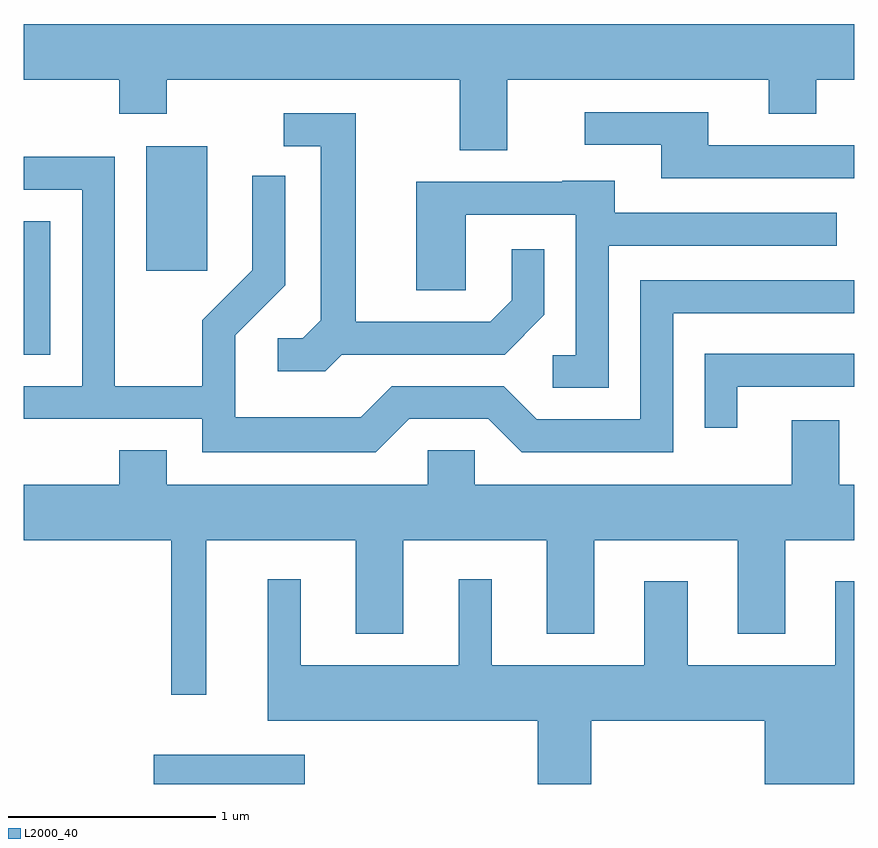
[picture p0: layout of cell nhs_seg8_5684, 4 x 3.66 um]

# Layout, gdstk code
import gdstk
lib = gdstk.Library(unit=1e-6, precision=1e-09)
def R(c, l, rs):  # rectangles x0, y0, x1, y1
    for r in rs: c.add(gdstk.rectangle(r[:2], r[2:], *l))
def P(c, l, *ps):  # polygons
    for p in ps: c.add(gdstk.Polygon(p, *l))
L2000_40 = (2000, 40)

nhs_seg8_5684 = lib.new_cell('nhs_seg8_5684')
R(nhs_seg8_5684, L2000_40, [(356.236,1846.342,356.964,1846.484), (355.611,1848.411,355.739,1849.054), (356.201,1848.816,356.494,1849.414)])
P(nhs_seg8_5684, L2000_40, [(357.939,1849.736),(359.201,1849.736),(359.201,1849.571),(359.429,1849.571),(359.429,1849.736),(359.611,1849.736),(359.611,1850.004),(355.611,1850.004),(355.611,1849.736),(356.071,1849.736),(356.071,1849.571),(356.299,1849.571),(356.299,1849.736),(357.711,1849.736),(357.711,1849.396),(357.939,1849.396)],
  [(359.611,1849.419),(358.909,1849.419),(358.909,1849.579),(358.313,1849.579),(358.313,1849.421),(358.681,1849.421),(358.681,1849.261),(359.611,1849.261)],
  [(357.142,1848.411),(357.927,1848.411),(358.119,1848.604),(358.119,1848.918),(357.961,1848.918),(357.961,1848.672),(357.859,1848.569),(357.209,1848.569),(357.209,1849.574),(356.863,1849.574),(356.863,1849.416),(357.041,1849.416),(357.041,1848.577),(356.954,1848.489),(356.833,1848.489),(356.833,1848.331),(357.062,1848.331)],
  [(357.467,1848.101),(357.849,1848.101),(358.009,1847.941),(358.739,1847.941),(358.739,1848.611),(359.611,1848.611),(359.611,1848.769),(358.581,1848.769),(358.581,1848.099),(358.082,1848.099),(357.922,1848.259),(357.384,1848.259),(357.234,1848.109),(356.629,1848.109),(356.629,1848.504),(356.869,1848.744),(356.869,1849.273),(356.711,1849.273),(356.711,1848.817),(356.471,1848.577),(356.471,1848.259),(356.049,1848.259),(356.049,1849.364),(355.611,1849.364),(355.611,1849.206),(355.891,1849.206),(355.891,1848.259),(355.611,1848.259),(355.611,1848.101),(356.471,1848.101),(356.471,1847.941),(357.307,1847.941)],
  [(358.429,1848.936),(359.528,1848.936),(359.528,1849.094),(358.459,1849.094),(358.459,1849.249),(358.205,1849.249),(358.205,1849.244),(357.501,1849.244),(357.501,1848.721),(357.739,1848.721),(357.739,1849.086),(358.271,1849.086),(358.271,1848.409),(358.158,1848.409),(358.158,1848.251),(358.429,1848.251)],
  [(359.049,1848.256),(359.611,1848.256),(359.611,1848.414),(358.891,1848.414),(358.891,1848.058),(359.049,1848.058)],
  [(356.299,1847.949),(356.071,1847.949),(356.071,1847.784),(355.611,1847.784),(355.611,1847.516),(356.321,1847.516),(356.321,1846.773),(356.489,1846.773),(356.489,1847.516),(357.211,1847.516),(357.211,1847.066),(357.439,1847.066),(357.439,1847.516),(358.131,1847.516),(358.131,1847.066),(358.359,1847.066),(358.359,1847.516),(359.051,1847.516),(359.051,1847.066),(359.279,1847.066),(359.279,1847.516),(359.611,1847.516),(359.611,1847.784),(359.539,1847.784),(359.539,1848.094),(359.311,1848.094),(359.311,1847.784),(357.784,1847.784),(357.784,1847.949),(357.556,1847.949),(357.556,1847.784),(356.299,1847.784)],
  [(358.344,1846.646),(359.181,1846.646),(359.181,1846.342),(359.611,1846.342),(359.611,1847.319),(359.521,1847.319),(359.521,1846.914),(358.809,1846.914),(358.809,1847.319),(358.601,1847.319),(358.601,1846.914),(357.864,1846.914),(357.864,1847.328),(357.706,1847.328),(357.706,1846.914),(356.944,1846.914),(356.944,1847.328),(356.786,1847.328),(356.786,1846.646),(358.086,1846.646),(358.086,1846.342),(358.344,1846.342)])

lib.write_gds('nhs_seg8_5684.gds')
